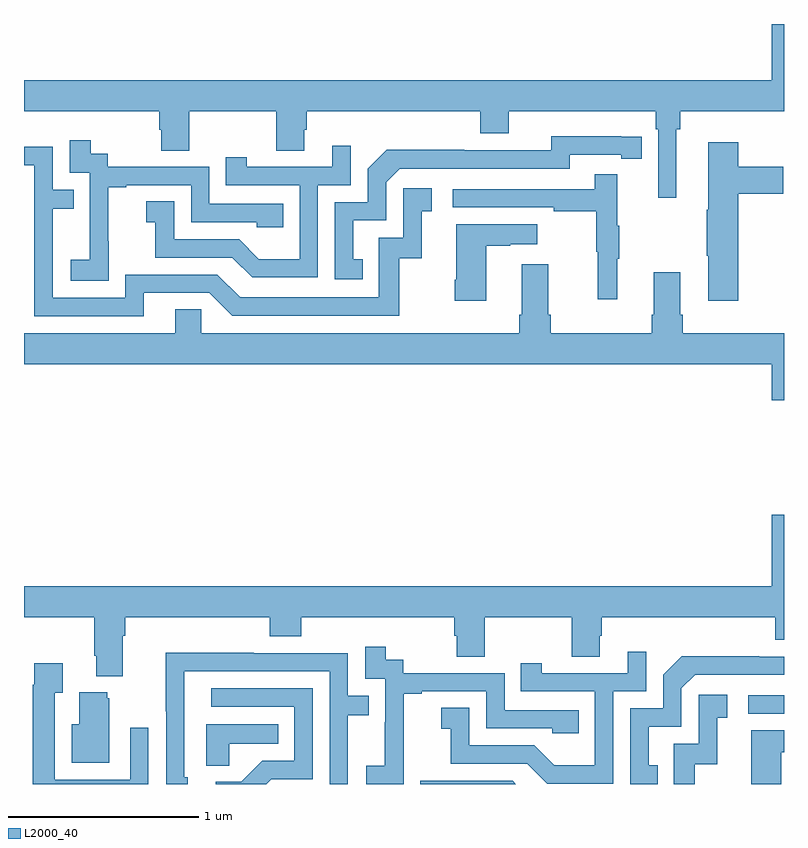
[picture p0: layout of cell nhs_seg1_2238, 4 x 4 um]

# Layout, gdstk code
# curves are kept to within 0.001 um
import gdstk
lib = gdstk.Library(unit=1e-6, precision=1e-09)
def R(c, l, rs):  # rectangles x0, y0, x1, y1
    for r in rs: c.add(gdstk.rectangle(r[:2], r[2:], *l))
def P(c, l, *ps):  # polygons
    for p in ps: c.add(gdstk.Polygon(p, *l))
L2000_40 = (2000, 40)

nhs_seg1_2238 = lib.new_cell('nhs_seg1_2238')
R(nhs_seg1_2238, L2000_40, [(236.811,540.57,237,540.666)])
P(nhs_seg1_2238, L2000_40, [(236.434,543.644),(236.453,543.644),(236.453,543.74),(237,543.74),(237,544.199),(236.936,544.199),(236.936,543.904),(233,543.904),(233,543.74),(233.711,543.74),(233.711,543.642),(233.723,543.642),(233.723,543.532),(233.871,543.532),(233.871,543.74),(234.328,543.74),(234.328,543.532),(234.475,543.532),(234.475,543.642),(234.488,543.642),(234.488,543.74),(235.4,543.74),(235.4,543.623),(235.552,543.623),(235.552,543.74),(236.324,543.74),(236.324,543.644),(236.337,543.644),(236.337,543.285),(236.434,543.285)],
  [(234.782,542.961),(234.733,542.961),(234.733,543.165),(234.906,543.165),(234.906,543.366),(234.978,543.438),(235.872,543.438),(235.872,543.51),(236.144,543.51),(236.144,543.49),(236.252,543.49),(236.252,543.606),(235.776,543.607),(235.776,543.534),(235.316,543.534),(235.316,543.536),(234.908,543.536),(234.81,543.438),(234.81,543.261),(234.636,543.261),(234.636,542.856),(234.782,542.856)],
  [(233.445,543.055),(233.444,543.055),(233.444,543.339),(233.539,543.339),(233.539,543.351),(233.88,543.351),(233.88,543.156),(234.225,543.156),(234.225,543.129),(234.365,543.129),(234.365,543.252),(233.976,543.252),(233.976,543.447),(233.442,543.447),(233.442,543.516),(233.35,543.516),(233.35,543.586),(233.241,543.586),(233.241,543.417),(233.346,543.417),(233.346,543.188),(233.345,543.188),(233.345,542.959),(233.247,542.959),(233.247,542.849),(233.445,542.849)],
  [(236.759,543.305),(236.995,543.305),(236.995,543.447),(236.759,543.447),(236.759,543.577),(236.6,543.577),(236.6,543.221),(236.593,543.221),(236.593,542.98),(236.6,542.98),(236.6,542.742),(236.759,542.742)],
  [(234.546,543.351),(234.72,543.351),(234.72,543.559),(234.623,543.559),(234.623,543.447),(234.172,543.447),(234.172,543.499),(234.061,543.499),(234.061,543.351),(234.45,543.351),(234.45,542.962),(234.236,542.962),(234.132,543.066),(233.79,543.066),(233.79,543.265),(233.643,543.265),(233.643,543.155),(233.692,543.155),(233.692,542.97),(234.095,542.97),(234.2,542.865),(234.546,542.865)],
  [(233.629,542.784),(233.976,542.784),(234.096,542.664),(234.976,542.664),(234.976,542.967),(235.094,542.967),(235.094,543.213),(235.147,543.213),(235.147,543.334),(234.996,543.334),(234.996,543.075),(234.867,543.075),(234.867,542.76),(234.138,542.76),(234.018,542.88),(233.532,542.88),(233.532,542.757),(233.151,542.757),(233.151,543.226),(233.261,543.226),(233.261,543.327),(233.151,543.327),(233.151,543.552),(233,543.552),(233,543.456),(233.055,543.456),(233.055,542.661),(233.629,542.661)],
  [(236.123,542.963),(236.134,542.963),(236.134,543.137),(236.123,543.137),(236.123,543.409),(236.005,543.409),(236.005,543.33),(235.257,543.33),(235.257,543.234),(235.789,543.234),(235.789,543.214),(236.013,543.214),(236.013,543),(236.02,543),(236.02,542.751),(236.123,542.751)],
  [(235.432,543.031),(235.559,543.031),(235.559,543.041),(235.702,543.041),(235.702,543.145),(235.274,543.145),(235.274,542.854),(235.267,542.854),(235.267,542.742),(235.432,542.742)],
  [(237,542.572),(236.468,542.572),(236.468,542.668),(236.455,542.668),(236.455,542.893),(236.315,542.893),(236.315,542.668),(236.303,542.668),(236.303,542.572),(235.772,542.572),(235.772,542.668),(235.759,542.668),(235.759,542.935),(235.619,542.935),(235.619,542.668),(235.607,542.668),(235.607,542.572),(233.934,542.572),(233.934,542.699),(233.795,542.699),(233.795,542.572),(233,542.572),(233,542.408),(236.936,542.408),(236.936,542.22),(237,542.22)],
  [(233.521,540.98),(233.534,540.98),(233.534,541.076),(234.293,541.076),(234.293,540.977),(234.458,540.977),(234.458,541.076),(235.265,541.076),(235.265,540.978),(235.277,540.978),(235.277,540.868),(235.425,540.868),(235.425,541.076),(235.882,541.076),(235.882,540.868),(236.029,540.868),(236.029,540.978),(236.042,540.978),(236.042,541.076),(236.954,541.076),(236.954,540.959),(237,540.959),(237,541.615),(236.936,541.615),(236.936,541.24),(233,541.24),(233,541.076),(233.369,541.076),(233.369,540.874),(233.381,540.874),(233.381,540.767),(233.521,540.767)],
  [(234.999,540.391),(234.998,540.391),(234.998,540.675),(235.093,540.675),(235.093,540.687),(235.434,540.687),(235.434,540.492),(235.779,540.492),(235.779,540.465),(235.919,540.465),(235.919,540.588),(235.53,540.588),(235.53,540.783),(234.996,540.783),(234.996,540.852),(234.904,540.852),(234.904,540.922),(234.795,540.922),(234.795,540.753),(234.9,540.753),(234.9,540.524),(234.899,540.524),(234.899,540.295),(234.801,540.295),(234.801,540.199),(234.999,540.199)],
  [(236.1,540.687),(236.274,540.687),(236.274,540.895),(236.177,540.895),(236.177,540.783),(235.726,540.783),(235.726,540.835),(235.615,540.835),(235.615,540.687),(236.004,540.687),(236.004,540.298),(235.79,540.298),(235.686,540.402),(235.344,540.402),(235.344,540.601),(235.197,540.601),(235.197,540.491),(235.246,540.491),(235.246,540.306),(235.649,540.306),(235.754,540.201),(236.1,540.201)],
  [(233.863,540.234),(233.844,540.234),(233.844,540.792),(234.609,540.792),(234.609,540.199),(234.705,540.199),(234.705,540.562),(234.815,540.562),(234.815,540.663),(234.705,540.663),(234.705,540.888),(234.209,540.888),(234.209,540.89),(233.746,540.89),(233.746,540.583),(233.748,540.583),(233.748,540.199),(233.863,540.199)],
  [(236.336,540.297),(236.287,540.297),(236.287,540.501),(236.46,540.501),(236.46,540.702),(236.532,540.774),(237,540.774),(237,540.87),(236.87,540.87),(236.87,540.872),(236.462,540.872),(236.364,540.774),(236.364,540.597),(236.19,540.597),(236.19,540.199),(236.336,540.199)],
  [(233.655,540.496),(233.559,540.496),(233.559,540.222),(233.163,540.222),(233.163,540.679),(233.203,540.679),(233.203,540.835),(233.055,540.835),(233.055,540.722),(233.047,540.722),(233.047,540.199),(233.655,540.199)],
  [(234.3,540.225),(234.519,540.225),(234.519,540.702),(233.985,540.702),(233.985,540.606),(234.423,540.606),(234.423,540.321),(234.254,540.321),(234.143,540.21),(234.009,540.21),(234.009,540.199),(234.274,540.199)],
  [(233.449,540.651),(233.438,540.651),(233.438,540.682),(233.291,540.682),(233.291,540.514),(233.252,540.514),(233.252,540.311),(233.449,540.311)],
  [(236.53,540.303),(236.648,540.303),(236.648,540.549),(236.701,540.549),(236.701,540.67),(236.55,540.67),(236.55,540.411),(236.421,540.411),(236.421,540.199),(236.53,540.199)],
  [(234.081,540.41),(234.338,540.41),(234.338,540.514),(233.96,540.514),(233.96,540.295),(234.081,540.295)],
  [(236.986,540.367),(237,540.367),(237,540.481),(236.828,540.481),(236.828,540.199),(236.986,540.199)],
  [(235.572,540.216),(235.086,540.216),(235.086,540.199),(235.589,540.199)])

lib.write_gds('nhs_seg1_2238.gds')
